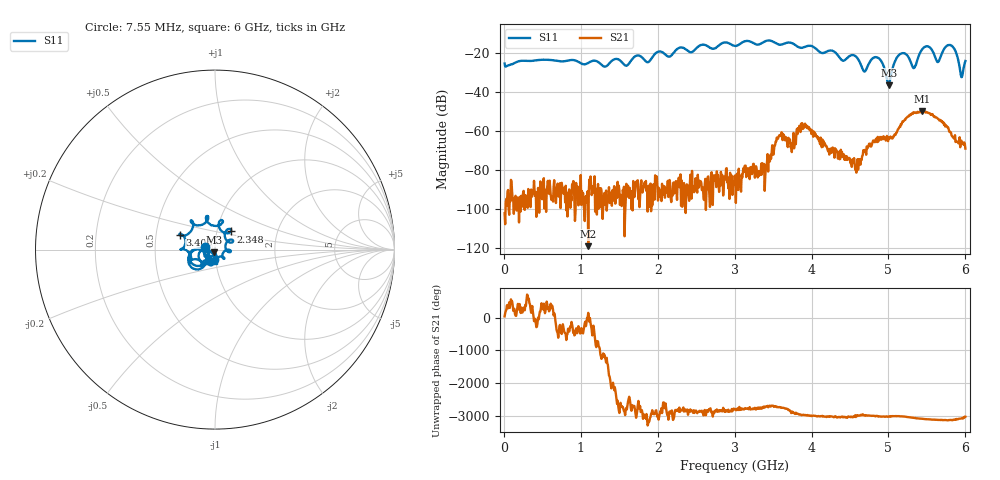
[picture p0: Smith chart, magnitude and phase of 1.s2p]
! NanoVNA-App by OneOfEleven et al v1.1.209 (+OD15)
! Date: 2024-07-30 12:38:47
! Start: 50kHz Stop: 6GHz Points: 801
! S-Parameter data: F S11 S21 S12 S22
# Hz S RI R 50
!  Frequency  S11_Real  S11_Imag  S21_Real  S21_Imag  S12_Real  S12_Imag  S22_Real  S22_Imag
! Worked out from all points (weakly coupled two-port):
!   800 points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, 7.55 MHz to 6 GHz, reference 50 ohm
!   highest |S21| = -49.75 dB at 5.438 GHz (marker M1); lowest = -119.1 dB at 1.095 GHz (marker M2)
!   lowest |S11| = -36.4 dB at 5.003 GHz (marker M3), VSWR 1.03, Z = 49.4 - j1.39 ohm
!   |S11| at or under -10 dB: start of sweep to end of sweep
!   S12 and S22 are empty: the file has one direction only
!   S11 on the Smith chart (normalised r, x): 7.55 MHz: 0.90, +0.03; 2.348 GHz: 1.17, +0.24; 3.405 GHz: 0.67, +0.11; 6 GHz: 0.98, -0.13
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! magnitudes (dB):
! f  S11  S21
! 7.55 MHz  -25.2  -102.2
! 1.013 GHz  -25.3  -90.7
! 1.095 GHz  -24.9  -119.1
! 2.01 GHz  -19.0  -89.0
! 2.348 GHz  -17.4  -88.3
! 3.008 GHz  -16.1  -85.2
! 3.405 GHz  -13.6  -79.4
! 3.585 GHz  -15.5  -61.9
! 3.743 GHz  -14.6  -70.7
! 3.855 GHz  -17.1  -60.4
! 4.005 GHz  -16.2  -59.4
! 4.575 GHz  -21.5  -79.9
! 4.688 GHz  -29.3  -70.0
! 4.868 GHz  -22.3  -65.2
! 5.003 GHz  -36.4  -63.1
! 5.138 GHz  -20.7  -58.1
! 5.333 GHz  -27.5  -50.4
! 5.438 GHz  -17.9  -49.7
! 5.64 GHz  -24.4  -53.5
! 5.805 GHz  -15.7  -60.6
! 5.948 GHz  -32.2  -64.8
! 6 GHz  -23.8  -68.9
